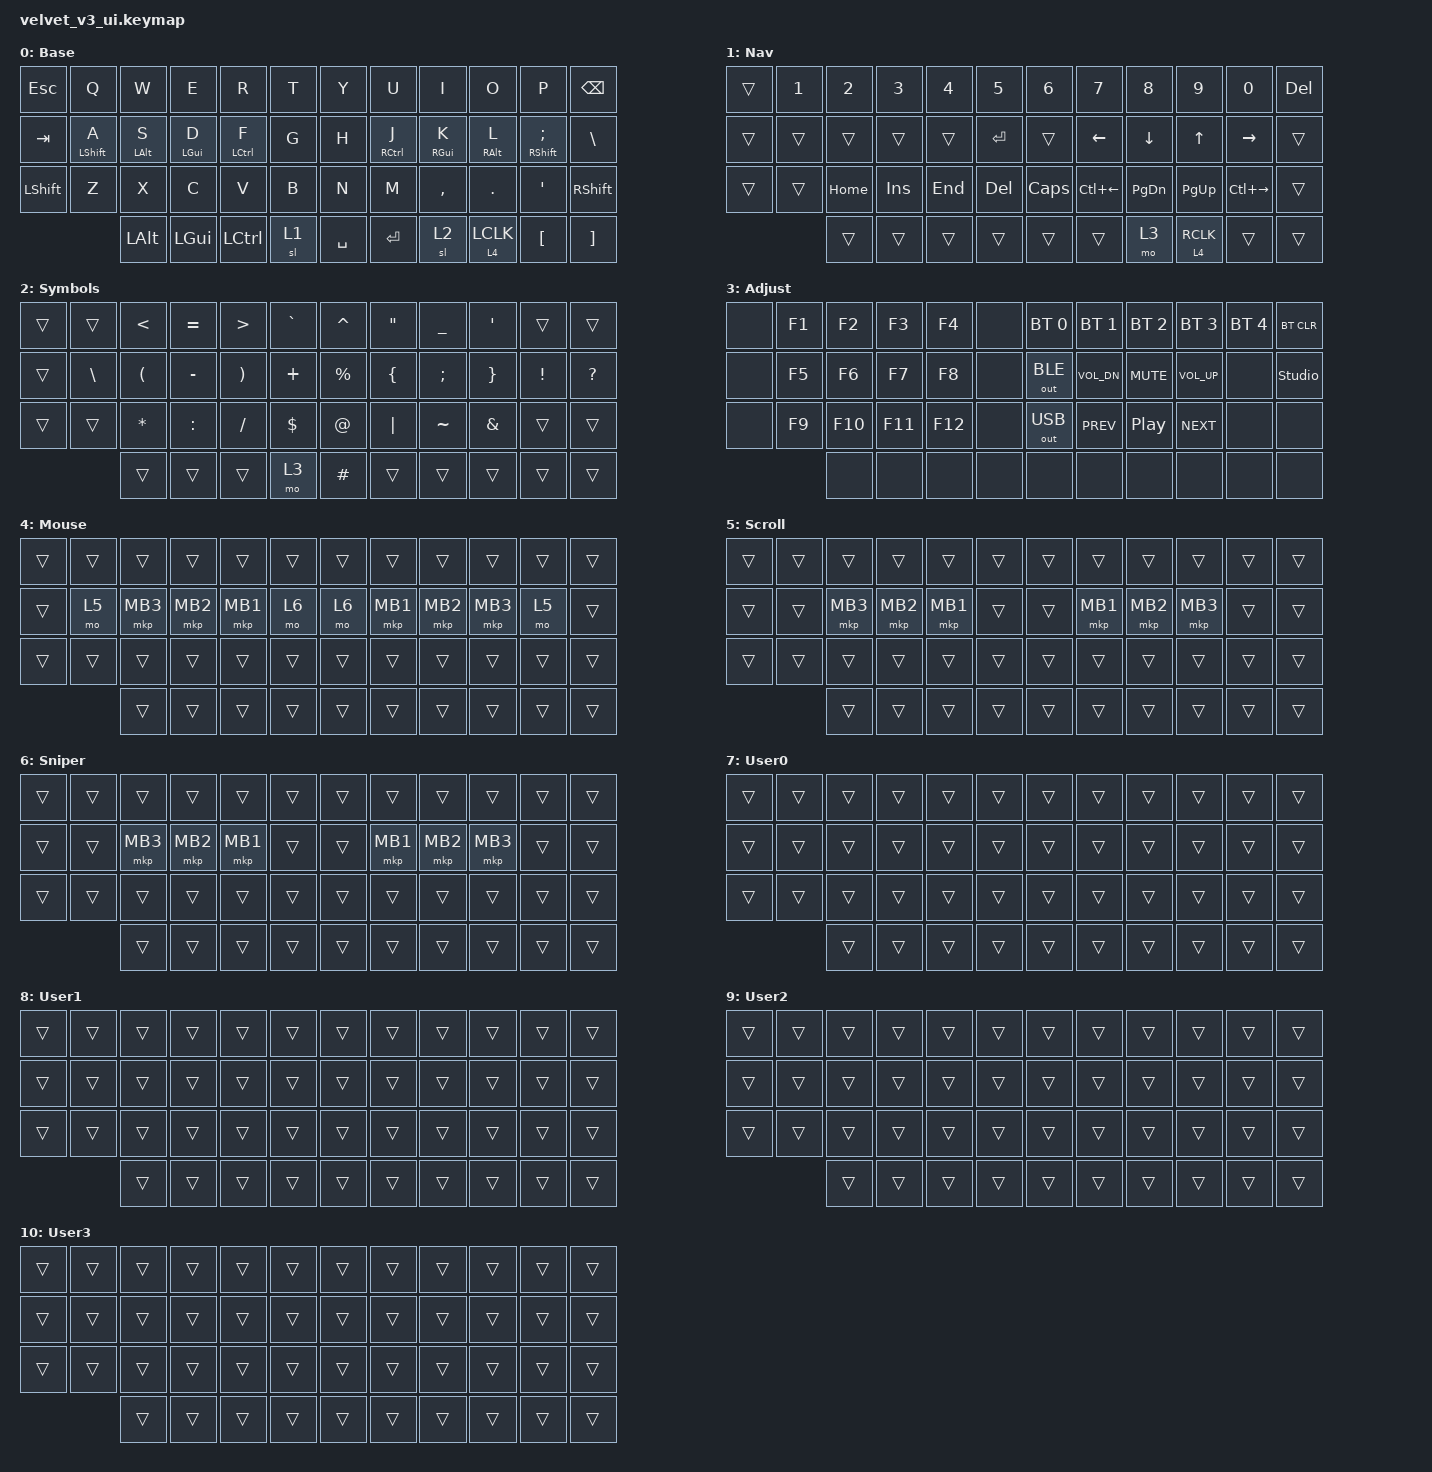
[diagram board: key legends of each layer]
#include "keys_ru.h"
#include <dt-bindings/zmk/input_transform.h>
#include <input/processors.dtsi>
#include <zephyr/dt-bindings/input/input-event-codes.h>
#include <behaviors.dtsi>
#include <dt-bindings/zmk/bt.h>
#include <dt-bindings/zmk/keys.h>
#include <dt-bindings/zmk/outputs.h>
#include <dt-bindings/zmk/pointing.h>

/ {
    behaviors {
        cap_sen: cap_sen {
            compatible = "zmk,behavior-hold-tap";
            label = "CAP_SEN";
            bindings = <&mo>, <&mkp>;

            #binding-cells = <2>;
            tapping-term-ms = <150>;
            hold-while-undecided;
        };

        mouse_layer: mouse_layer {
            compatible = "zmk,behavior-sticky-key";
            label = "MOUSE_LAYER";
            bindings = <&mo>;
            #binding-cells = <1>;
            release-after-ms = <200>;
        };

        lhr: lhr {
            compatible = "zmk,behavior-hold-tap";
            label = "LHR";
            bindings = <&kp>, <&kp>;

            #binding-cells = <2>;
            tapping-term-ms = <200>;
            hold-trigger-key-positions = <6 7 8 9 10 11 18 19 20 21 22 23 30 31 32 33 34 35 44 45>;
            flavor = "tap-preferred";
            hold-trigger-on-release;
        };

        rhr: rhr {
            compatible = "zmk,behavior-hold-tap";
            label = "RHR";
            bindings = <&kp>, <&kp>;

            #binding-cells = <2>;
            tapping-term-ms = <200>;
            hold-trigger-key-positions = <0 1 2 4 5 12 13 14 15 16 17 24 25 26 27 28 29 36 37 3>;
            flavor = "tap-preferred";
            hold-trigger-on-release;
        };

        zip_auto_mouse: zip_auto_mouse {
            compatible = "zmk,input-processor-temp-layer";
            #input-processor-cells = <2>;
            require-prior-idle-ms = <800>;
            excluded-positions = <>;
        };
    };

    keymap {
        compatible = "zmk,keymap";

        base {
            bindings = <
&kp ESC    &kp Q              &kp W            &kp E            &kp R                &kp T                        &kp Y  &kp U                 &kp I             &kp O             &kp P                  &kp BSPC
&kp TAB    &lhr LEFT_SHIFT A  &lhr LEFT_ALT S  &lhr LEFT_GUI D  &lhr LEFT_CONTROL F  &kp G                        &kp H  &rhr RIGHT_CONTROL J  &rhr RIGHT_GUI K  &rhr RIGHT_ALT L  &rhr RIGHT_SHIFT SEMI  &kp BSLH
&kp LSHFT  &kp Z              &kp X            &kp C            &kp V                &kp B                        &kp N  &kp M                 &kp COMMA         &kp DOT           &kp SQT                &kp RSHFT
                              &kp LALT         &kp LGUI         &kp LCTRL            &sl 1  &kp SPACE    &kp RET  &sl 2  &cap_sen 4 LCLK       &kp LBKT          &kp RBKT
            >;

            display-name = "Base";
        };

        nav {
            bindings = <
&trans  &kp N1  &kp N2    &kp N3   &kp N4   &kp N5                     &kp N6    &kp N7           &kp N8         &kp N9       &kp N0         &kp DELETE
&trans  &trans  &trans    &trans   &trans   &kp RET                    &trans    &kp LEFT         &kp DOWN       &kp UP       &kp RIGHT      &trans
&trans  &trans  &kp HOME  &kp INS  &kp END  &kp DEL                    &kp CLCK  &kp LC(LEFT)     &kp PAGE_DOWN  &kp PAGE_UP  &kp LC(RIGHT)  &trans
                &trans    &trans   &trans   &trans   &trans    &trans  &mo 3     &cap_sen 4 RCLK  &trans         &trans
            >;

            display-name = "Nav";
        };

        sym {
            bindings = <
&trans  &trans    &kp LT    &kp EQUAL  &kp GT    &kp GRAVE                      &kp CARET  &kp DQT   &kp UNDER  &kp SQT   &trans    &trans
&trans  &kp BSLH  &kp LPAR  &kp MINUS  &kp RPAR  &kp PLUS                       &kp PRCNT  &kp LBRC  &kp SEMI   &kp RBRC  &kp EXCL  &kp QUESTION
&trans  &trans    &kp STAR  &kp COLON  &kp FSLH  &kp DLLR                       &kp AT     &kp PIPE  &kp TILDE  &kp AMPS  &trans    &trans
                  &trans    &trans     &trans    &mo 3      &kp HASH    &trans  &trans     &trans    &trans     &trans
            >;

            display-name = "Symbols";
        };

        adj {
            bindings = <
&none  &kp F1  &kp F2   &kp F3   &kp F4   &none                  &bt BT_SEL 0  &bt BT_SEL 1  &bt BT_SEL 2      &bt BT_SEL 3  &bt BT_SEL 4  &bt BT_CLR
&none  &kp F5  &kp F6   &kp F7   &kp F8   &none                  &out OUT_BLE  &kp C_VOL_DN  &kp C_MUTE        &kp C_VOL_UP  &none         &studio_unlock
&none  &kp F9  &kp F10  &kp F11  &kp F12  &none                  &out OUT_USB  &kp C_PREV    &kp C_PLAY_PAUSE  &kp C_NEXT    &none         &none
               &none    &none    &none    &none  &none    &none  &none         &none         &none             &none
            >;

            display-name = "Adjust";
        };

        mouse {
            bindings = <
&trans  &trans  &trans    &trans    &trans    &trans                    &trans  &trans    &trans    &trans    &trans  &trans
&trans  &mo 5   &mkp MB3  &mkp MB2  &mkp MB1  &mo 6                     &mo 6   &mkp MB1  &mkp MB2  &mkp MB3  &mo 5   &trans
&trans  &trans  &trans    &trans    &trans    &trans                    &trans  &trans    &trans    &trans    &trans  &trans
                &trans    &trans    &trans    &trans  &trans    &trans  &trans  &trans    &trans    &trans
            >;

            display-name = "Mouse";
        };

        scroll {
            bindings = <
&trans  &trans  &trans    &trans    &trans    &trans                    &trans  &trans    &trans    &trans    &trans  &trans
&trans  &trans  &mkp MB3  &mkp MB2  &mkp MB1  &trans                    &trans  &mkp MB1  &mkp MB2  &mkp MB3  &trans  &trans
&trans  &trans  &trans    &trans    &trans    &trans                    &trans  &trans    &trans    &trans    &trans  &trans
                &trans    &trans    &trans    &trans  &trans    &trans  &trans  &trans    &trans    &trans
            >;

            display-name = "Scroll";
        };

        sniper {
            bindings = <
&trans  &trans  &trans    &trans    &trans    &trans                    &trans  &trans    &trans    &trans    &trans  &trans
&trans  &trans  &mkp MB3  &mkp MB2  &mkp MB1  &trans                    &trans  &mkp MB1  &mkp MB2  &mkp MB3  &trans  &trans
&trans  &trans  &trans    &trans    &trans    &trans                    &trans  &trans    &trans    &trans    &trans  &trans
                &trans    &trans    &trans    &trans  &trans    &trans  &trans  &trans    &trans    &trans
            >;

            display-name = "Sniper";
        };

        User0 {
            bindings = <
&trans  &trans  &trans  &trans  &trans  &trans                    &trans  &trans  &trans  &trans  &trans  &trans
&trans  &trans  &trans  &trans  &trans  &trans                    &trans  &trans  &trans  &trans  &trans  &trans
&trans  &trans  &trans  &trans  &trans  &trans                    &trans  &trans  &trans  &trans  &trans  &trans
                &trans  &trans  &trans  &trans  &trans    &trans  &trans  &trans  &trans  &trans
            >;

            display-name = "User0";
        };

        User1 {
            bindings = <
&trans  &trans  &trans  &trans  &trans  &trans                    &trans  &trans  &trans  &trans  &trans  &trans
&trans  &trans  &trans  &trans  &trans  &trans                    &trans  &trans  &trans  &trans  &trans  &trans
&trans  &trans  &trans  &trans  &trans  &trans                    &trans  &trans  &trans  &trans  &trans  &trans
                &trans  &trans  &trans  &trans  &trans    &trans  &trans  &trans  &trans  &trans
            >;

            display-name = "User1";
        };

        User2 {
            bindings = <
&trans  &trans  &trans  &trans  &trans  &trans                    &trans  &trans  &trans  &trans  &trans  &trans
&trans  &trans  &trans  &trans  &trans  &trans                    &trans  &trans  &trans  &trans  &trans  &trans
&trans  &trans  &trans  &trans  &trans  &trans                    &trans  &trans  &trans  &trans  &trans  &trans
                &trans  &trans  &trans  &trans  &trans    &trans  &trans  &trans  &trans  &trans
            >;

            display-name = "User2";
        };

        User3 {
            bindings = <
&trans  &trans  &trans  &trans  &trans  &trans                    &trans  &trans  &trans  &trans  &trans  &trans
&trans  &trans  &trans  &trans  &trans  &trans                    &trans  &trans  &trans  &trans  &trans  &trans
&trans  &trans  &trans  &trans  &trans  &trans                    &trans  &trans  &trans  &trans  &trans  &trans
                &trans  &trans  &trans  &trans  &trans    &trans  &trans  &trans  &trans  &trans
            >;

            display-name = "User3";
        };
    };
};

&trackball { cpi = <800>; };

&trackball_listener {
    input-processors = <&zip_auto_mouse 4 500>, <&zip_xy_scaler 9 20>;

    scroller {
        layers = <5>;
        input-processors =
            <&zip_xy_transform INPUT_TRANSFORM_Y_INVERT>,
            <&zip_xy_scaler 1 64>,
            <&zip_xy_to_scroll_mapper>;
    };

    sniper {
        layers = <6>;
        input-processors = <&zip_xy_scaler 1 8>;
    };
};
